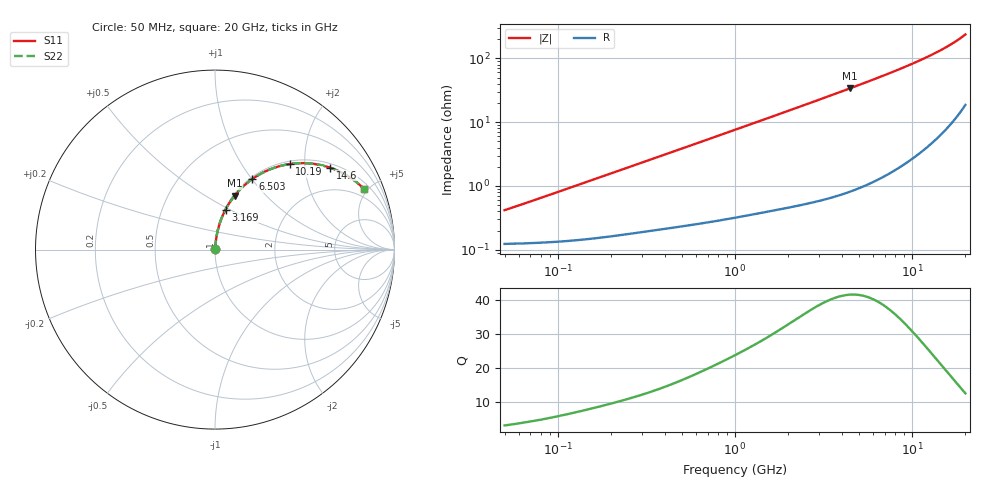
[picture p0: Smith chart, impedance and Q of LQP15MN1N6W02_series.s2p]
!Murata Part Number: LQP15MN1N6W02
!These Parameters are Measured in Series Mode Connection
!  o--[Z]--o
!Port1  Port2
!  o-------o
!Freq. Start=50[MHz] Stop=20[GHz], 401[Steps]
# Hz S RI R 50
!Freq.(Hz) S11(Real) S11(Imag) S21(Real) S21(Imag) S12(Real) S12(Imag) S22(Real) S22(Imag)
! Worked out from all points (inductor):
!   401 points, 50 MHz to 20 GHz, reference 50 ohm
!   read as one part in series: L = 1.27 nH near 51.52 MHz
!   highest Q = 41.6 at 4.472 GHz (marker M1), where L = 1.21 nH
!   S11 on the Smith chart (normalised r, x): 50 MHz: 1.00, +0.01; 3.169 GHz: 1.01, +0.48; 6.503 GHz: 1.03, +1.01; 10.19 GHz: 1.06, +1.68; 14.6 GHz: 1.13, +2.70; 20 GHz: 1.37, +4.72
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5e7  0.00125 0.00398  0.9988 -0.00398  0.9988 -0.00398  0.00125 0.00398
6.646115e7  0.00129 0.00528  0.9987 -0.00528  0.9987 -0.00528  0.00129 0.00528
1.364002e8  0.00155 0.0108  0.9984 -0.0108  0.9984 -0.0108  0.00155 0.0108
3.721004e8  0.00288 0.0286  0.9971 -0.0286  0.9971 -0.0286  0.00288 0.0286
6.380365e8  0.00492 0.0483  0.9951 -0.0483  0.9951 -0.0483  0.00492 0.0483
1e9  0.00882 0.0748  0.9912 -0.0748  0.9912 -0.0748  0.00882 0.0748
1.714689e9  0.0204 0.1259  0.9796 -0.1259  0.9796 -0.1259  0.0204 0.1259
2.728004e9  0.0452 0.1948  0.9548 -0.1948  0.9548 -0.1948  0.0452 0.1948
3.168813e9  0.059 0.2232  0.941 -0.2232  0.941 -0.2232  0.059 0.2232
3.792786e9  0.0813 0.2613  0.9187 -0.2613  0.9187 -0.2613  0.0813 0.2613
4.472136e9  0.109 0.2998  0.891 -0.2998  0.891 -0.2998  0.109 0.2998
5.433528e9  0.1534 0.3484  0.8466 -0.3484  0.8466 -0.3484  0.1534 0.3484
6.503449e9  0.2082 0.3935  0.7918 -0.3935  0.7918 -0.3935  0.2082 0.3935
7.442007e9  0.2596 0.4252  0.7404 -0.4252  0.7404 -0.4252  0.2596 0.4252
8.644534e9  0.3277 0.455  0.6723 -0.455  0.6723 -0.455  0.3277 0.455
1.019291e10  0.4157 0.4767  0.5843 -0.4767  0.5843 -0.4767  0.4157 0.4767
1.220001e10  0.5246 0.4804  0.4754 -0.4804  0.4754 -0.4804  0.5246 0.4804
1.334722e10  0.5823 0.4723  0.4177 -0.4723  0.4177 -0.4723  0.5823 0.4723
1.460232e10  0.6406 0.4566  0.3594 -0.4566  0.3594 -0.4566  0.6406 0.4566
1.696185e10  0.7355 0.4126  0.2645 -0.4126  0.2645 -0.4126  0.7355 0.4126
1.940974e10  0.8138 0.3538  0.1862 -0.3538  0.1862 -0.3538  0.8138 0.3538
2e10  0.8297 0.3384  0.1703 -0.3384  0.1703 -0.3384  0.8297 0.3384
